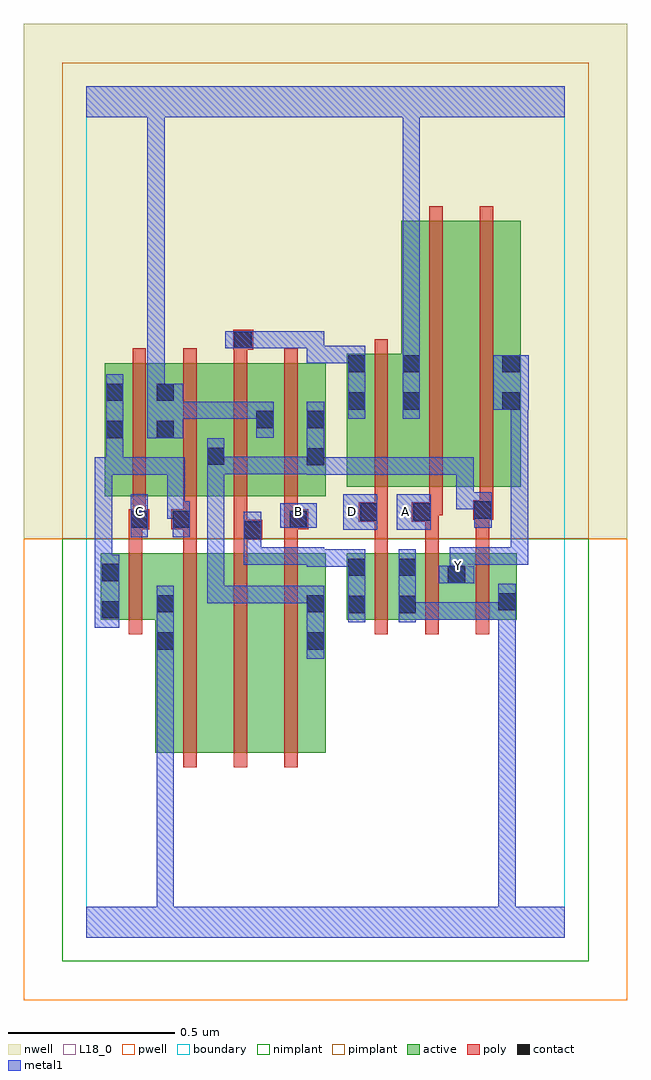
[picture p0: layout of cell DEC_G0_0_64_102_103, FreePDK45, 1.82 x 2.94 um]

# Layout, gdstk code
import gdstk
lib = gdstk.Library(unit=1e-6, precision=1e-09)
def R(c, l, rs):  # rectangles x0, y0, x1, y1
    for r in rs: c.add(gdstk.rectangle(r[:2], r[2:], *l))
def A(c, l, x, y, w, h, nx, ny, dx, dy):  # array of equal rectangles
    R(c, l, [(x+i*dx, y+j*dy, x+i*dx+w, y+j*dy+h) for i in range(nx) for j in range(ny)])
active = (1, 0)
pwell = (2, 0)
nwell = (3, 0)
nimplant = (4, 0)
pimplant = (5, 0)
poly = (9, 0)
contact = (10, 0)
metal1 = (11, 0)
L18_0 = (18, 0)
boundary = (235, 0)

dec_g0_0_64_102_103 = lib.new_cell('DEC_G0_0_64_102_103')
A(dec_g0_0_64_102_103, active, 0.056, 1.328, 0.06, 0.4, 3, 1, 0.152, 0)
R(dec_g0_0_64_102_103, active, [(0.208,0.556,0.388,1.156), (0.388,0.556,0.54,1.156), (0.54,0.556,0.72,1.156), (0.66,0.556,0.72,1.156), (0.208,0.862,0.268,1.034), (0.044,0.956,0.104,1.156), (0.044,0.956,0.268,1.156), (0.784,0.956,0.844,1.156), (0.784,0.956,0.996,1.156), (0.936,0.956,0.996,1.156), (0.936,0.956,1.144,1.156), (1.084,0.956,1.144,1.156), (1.084,0.956,1.296,1.156), (1.236,0.956,1.296,1.156), (0.056,1.328,0.268,1.728), (0.208,1.328,0.42,1.728), (0.36,1.328,0.568,1.728), (0.508,1.328,0.72,1.728), (0.66,1.328,0.72,1.644), (0.784,1.356,1.008,1.756), (0.784,1.356,0.844,1.756), (0.948,1.356,1.128,2.156), (1.128,1.356,1.308,2.156), (1.248,1.356,1.308,2.15), (0.508,1.47,0.568,1.728), (0.948,1.498,1.008,1.826)])
R(dec_g0_0_64_102_103, pwell, [(-0.188,-0.188,1.628,1.2)])
R(dec_g0_0_64_102_103, nwell, [(-0.188,1.2,1.628,2.748)])
R(dec_g0_0_64_102_103, nimplant, [(-0.072,-0.072,1.512,1.2)])
R(dec_g0_0_64_102_103, pimplant, [(-0.072,1.2,1.512,2.632)])
A(dec_g0_0_64_102_103, poly, 0.292, 0.512, 0.04, 0.688, 3, 1, 0.152, 0)
A(dec_g0_0_64_102_103, poly, 0.868, 0.912, 0.04, 0.288, 3, 1, 0.152, 0)
A(dec_g0_0_64_102_103, poly, 0.14, 1.284, 0.04, 0.488, 4, 1, 0.152, 0)
R(dec_g0_0_64_102_103, poly, [(0.128,0.912,0.168,1.2), (0.128,1.16,0.168,1.268), (0.292,1.16,0.332,1.268), (0.444,1.16,0.484,1.236), (0.596,1.16,0.636,1.268), (0.868,1.16,0.908,1.29), (1.02,1.16,1.06,1.29), (1.172,1.16,1.212,1.296), (0.444,1.196,0.53,1.256), (0.444,1.216,0.484,1.256), (0.444,1.216,0.484,1.256), (0.444,1.216,0.484,1.324), (0.128,1.228,0.19,1.288), (0.256,1.228,0.332,1.288), (0.292,1.228,0.332,1.268), (0.292,1.228,0.332,1.268), (0.596,1.228,0.636,1.268), (0.596,1.228,0.636,1.268), (0.596,1.228,0.668,1.288), (0.14,1.248,0.18,1.324), (0.14,1.248,0.18,1.288), (0.14,1.248,0.18,1.288), (0.292,1.248,0.332,1.324), (0.596,1.248,0.636,1.324), (0.82,1.25,0.908,1.31), (0.868,1.25,0.908,1.29), (0.868,1.25,0.908,1.29), (0.98,1.25,1.06,1.31), (1.164,1.256,1.224,1.316), (1.172,1.256,1.212,1.296), (1.172,1.256,1.212,1.296), (0.868,1.27,0.908,1.352), (1.02,1.27,1.06,1.31), (1.02,1.27,1.072,1.31), (1.032,1.27,1.072,1.352), (1.184,1.276,1.224,1.352), (0.868,1.312,0.908,1.8), (1.032,1.312,1.072,2.2), (1.184,1.312,1.224,2.2), (0.444,1.732,0.484,1.808), (0.442,1.768,0.502,1.828)])
R(dec_g0_0_64_102_103, contact, [(0.212,0.866,0.264,0.918), (0.664,0.866,0.716,0.918), (0.048,0.96,0.1,1.012), (0.788,0.976,0.84,1.028), (0.94,0.976,0.992,1.028), (0.212,0.978,0.264,1.03), (0.664,0.978,0.716,1.03), (1.24,0.984,1.292,1.036), (1.088,1.066,1.14,1.118), (0.048,1.072,0.1,1.124), (0.788,1.088,0.84,1.14), (0.94,1.088,0.992,1.14), (0.474,1.2,0.526,1.252), (0.134,1.232,0.186,1.284), (0.26,1.232,0.312,1.284), (0.612,1.232,0.664,1.284), (0.824,1.254,0.876,1.306), (0.984,1.254,1.036,1.306), (1.168,1.26,1.22,1.312), (0.664,1.42,0.716,1.472), (0.364,1.422,0.416,1.474), (0.06,1.502,0.112,1.554), (0.212,1.502,0.264,1.554), (0.512,1.532,0.564,1.584), (0.664,1.532,0.716,1.584), (0.788,1.588,0.84,1.64), (0.952,1.588,1.004,1.64), (1.252,1.588,1.304,1.64), (0.06,1.614,0.112,1.666), (0.212,1.614,0.264,1.666), (0.788,1.7,0.84,1.752), (0.952,1.7,1.004,1.752), (1.252,1.7,1.304,1.752), (0.446,1.772,0.498,1.824)])
R(dec_g0_0_64_102_103, metal1, [(0,0,1.44,0.092), (0.212,0.04,0.264,0.092), (0.212,0.04,0.264,0.092), (0.212,0.04,0.264,0.092), (0.212,0.04,0.264,0.092), (0.212,0.04,0.264,0.092), (0.212,0.04,0.264,0.092), (0.212,0.04,0.264,0.092), (0.212,0.04,0.264,0.092), (0.212,0.04,0.264,0.89), (1.24,0.04,1.292,0.092), (1.24,0.04,1.292,0.092), (1.24,0.04,1.292,0.092), (1.24,0.04,1.292,0.092), (1.24,0.04,1.292,0.092), (1.24,0.04,1.292,0.092), (1.24,0.04,1.292,0.092), (1.24,0.04,1.292,0.092), (1.24,0.04,1.292,0.092), (1.24,0.04,1.292,0.092), (1.24,0.04,1.292,0.092), (1.24,0.04,1.292,0.092), (1.24,0.04,1.292,0.092), (1.24,0.04,1.292,0.092), (1.24,0.04,1.292,0.092), (1.24,0.04,1.292,0.092), (1.24,0.04,1.292,1.008), (0.212,0.838,0.264,1.058), (0.664,0.838,0.716,1.058), (0.026,0.932,0.1,1.152), (0.788,0.948,0.84,1.168), (0.94,0.948,0.992,1.168), (0.94,0.956,0.992,1.008), (0.94,0.956,0.992,1.008), (0.94,0.956,1.102,1.008), (1.05,0.956,1.102,1.008), (1.05,0.956,1.292,1.008), (1.24,0.956,1.292,1.008), (1.24,0.956,1.292,1.008), (1.24,0.956,1.292,1.064), (0.364,1.006,0.416,1.058), (0.364,1.006,0.416,1.058), (0.364,1.006,0.416,1.058), (0.364,1.006,0.416,1.058), (0.364,1.006,0.416,1.058), (0.364,1.006,0.526,1.058), (0.364,1.006,0.416,1.446), (0.474,1.006,0.526,1.058), (0.474,1.006,0.526,1.058), (0.474,1.006,0.526,1.058), (0.474,1.006,0.716,1.058), (0.664,1.006,0.716,1.058), (0.664,1.006,0.716,1.058), (1.06,1.066,1.168,1.118), (1.094,1.066,1.146,1.118), (1.094,1.066,1.146,1.174), (0.026,1.1,0.078,1.444), (0.664,1.116,0.716,1.168), (0.664,1.116,0.716,1.168), (0.664,1.116,0.84,1.168), (0.664,1.116,0.716,1.174), (0.788,1.116,0.84,1.168), (0.788,1.116,0.84,1.168), (0.474,1.122,0.716,1.174), (0.474,1.122,0.526,1.224), (1.094,1.122,1.146,1.174), (1.094,1.122,1.146,1.174), (1.094,1.122,1.33,1.174), (1.278,1.122,1.33,1.64), (1.278,1.122,1.33,1.174), (1.278,1.122,1.33,1.174), (1.278,1.122,1.33,1.174), (0.474,1.172,0.526,1.224), (0.474,1.172,0.526,1.28), (0.134,1.204,0.186,1.334), (0.26,1.204,0.312,1.312), (0.774,1.226,0.876,1.334), (0.934,1.226,1.036,1.334), (0.584,1.232,0.694,1.306), (1.168,1.232,1.22,1.34), (0.244,1.26,0.312,1.312), (0.244,1.26,0.296,1.444), (1.114,1.288,1.166,1.34), (1.114,1.288,1.22,1.34), (1.114,1.288,1.166,1.444), (0.026,1.392,0.078,1.444), (0.026,1.392,0.078,1.444), (0.026,1.392,0.112,1.444), (0.06,1.392,0.112,1.444), (0.06,1.392,0.112,1.444), (0.06,1.392,0.296,1.444), (0.06,1.392,0.112,1.526), (0.664,1.392,0.826,1.444), (0.664,1.392,0.716,1.612), (0.774,1.392,0.826,1.444), (0.774,1.392,0.826,1.444), (0.774,1.392,0.826,1.444), (0.774,1.392,0.992,1.444), (0.94,1.392,0.992,1.444), (0.94,1.392,0.992,1.444), (0.94,1.392,0.992,1.444), (0.94,1.392,1.166,1.444), (1.114,1.392,1.166,1.444), (0.364,1.394,0.416,1.502), (0.364,1.394,0.422,1.446), (0.37,1.394,0.422,1.446), (0.37,1.394,0.526,1.446), (0.474,1.394,0.526,1.446), (0.474,1.394,0.716,1.446), (0.664,1.394,0.716,1.446), (0.664,1.394,0.716,1.446), (0.06,1.474,0.112,1.694), (0.184,1.502,0.292,1.666), (0.512,1.504,0.564,1.612), (0.24,1.56,0.292,1.612), (0.24,1.56,0.292,1.612), (0.24,1.56,0.416,1.612), (0.364,1.56,0.416,1.612), (0.364,1.56,0.422,1.612), (0.37,1.56,0.422,1.612), (0.37,1.56,0.564,1.612), (0.788,1.56,0.84,1.78), (0.952,1.56,1.004,1.78), (1.224,1.588,1.332,1.752), (0.184,1.614,0.236,1.666), (0.184,1.614,0.236,1.666), (0.184,1.614,0.236,2.52), (0.664,1.728,0.716,1.78), (0.664,1.728,0.84,1.78), (0.664,1.728,0.716,1.824), (0.952,1.728,1.004,1.78), (0.952,1.728,1.004,1.78), (0.952,1.728,1.004,1.78), (0.952,1.728,1.004,1.78), (0.952,1.728,1.004,2.52), (0.418,1.772,0.526,1.824), (0.474,1.772,0.526,1.824), (0.474,1.772,0.526,1.824), (0.474,1.772,0.716,1.824), (0.664,1.772,0.716,1.824), (0.664,1.772,0.716,1.824), (0.664,1.772,0.716,1.824), (0,2.468,1.44,2.56), (0.184,2.468,0.236,2.52), (0.184,2.468,0.236,2.52), (0.184,2.468,0.236,2.52), (0.184,2.468,0.236,2.52), (0.184,2.468,0.236,2.52), (0.184,2.468,0.236,2.52), (0.184,2.468,0.236,2.52), (0.184,2.468,0.236,2.52), (0.184,2.468,0.236,2.52), (0.184,2.468,0.236,2.52), (0.184,2.468,0.236,2.52), (0.184,2.468,0.236,2.52), (0.184,2.468,0.236,2.52), (0.184,2.468,0.236,2.52), (0.952,2.468,1.004,2.52), (0.952,2.468,1.004,2.52), (0.952,2.468,1.004,2.52), (0.952,2.468,1.004,2.52)])
A(dec_g0_0_64_102_103, L18_0, 1.094, 1.066, 0.052, 0.052, 1, 3, 0, 0.028)
A(dec_g0_0_64_102_103, L18_0, 0.614, 1.254, 0.052, 0.052, 3, 1, 0.16, 0)
R(dec_g0_0_64_102_103, L18_0, [(0,0,1.44,0.092), (0.212,0.04,0.264,0.092), (0.212,0.04,0.264,0.092), (0.212,0.04,0.264,0.092), (0.212,0.04,0.264,0.092), (0.212,0.04,0.264,0.092), (0.212,0.04,0.264,0.092), (0.212,0.04,0.264,0.092), (0.212,0.04,0.264,0.092), (0.212,0.04,0.264,0.89), (1.24,0.04,1.292,0.092), (1.24,0.04,1.292,0.092), (1.24,0.04,1.292,0.092), (1.24,0.04,1.292,0.092), (1.24,0.04,1.292,0.092), (1.24,0.04,1.292,0.092), (1.24,0.04,1.292,0.092), (1.24,0.04,1.292,0.092), (1.24,0.04,1.292,0.092), (1.24,0.04,1.292,0.092), (1.24,0.04,1.292,0.092), (1.24,0.04,1.292,0.092), (1.24,0.04,1.292,0.092), (1.24,0.04,1.292,0.092), (1.24,0.04,1.292,0.092), (1.24,0.04,1.292,0.092), (1.24,0.04,1.292,1.008), (0.212,0.838,0.264,1.058), (0.94,0.948,0.992,1.168), (0.94,0.956,0.992,1.008), (0.94,0.956,0.992,1.008), (0.94,0.956,1.102,1.008), (1.05,0.956,1.102,1.008), (1.05,0.956,1.292,1.008), (1.24,0.956,1.292,1.008), (1.24,0.956,1.292,1.008), (1.24,0.956,1.292,1.064), (1.06,1.066,1.168,1.118), (1.094,1.066,1.146,1.174), (1.094,1.122,1.146,1.174), (1.094,1.122,1.33,1.174), (1.278,1.122,1.33,1.174), (1.278,1.122,1.33,1.174), (1.278,1.122,1.33,1.174), (1.278,1.122,1.33,1.64), (0.134,1.204,0.186,1.334), (0.774,1.226,0.876,1.334), (0.934,1.226,1.036,1.334), (0.584,1.232,0.694,1.306), (0.134,1.254,0.186,1.306), (0.184,1.502,0.292,1.666), (0.512,1.504,0.564,1.612), (0.24,1.56,0.292,1.612), (0.24,1.56,0.292,1.612), (0.24,1.56,0.416,1.612), (0.364,1.56,0.416,1.612), (0.364,1.56,0.422,1.612), (0.37,1.56,0.422,1.612), (0.37,1.56,0.564,1.612), (0.952,1.56,1.004,1.78), (1.224,1.588,1.332,1.752), (0.184,1.614,0.236,1.666), (0.184,1.614,0.236,1.666), (0.184,1.614,0.236,2.52), (0.952,1.728,1.004,1.78), (0.952,1.728,1.004,1.78), (0.952,1.728,1.004,1.78), (0.952,1.728,1.004,1.78), (0.952,1.728,1.004,2.52), (0,2.468,1.44,2.56), (0.184,2.468,0.236,2.52), (0.184,2.468,0.236,2.52), (0.184,2.468,0.236,2.52), (0.184,2.468,0.236,2.52), (0.184,2.468,0.236,2.52), (0.184,2.468,0.236,2.52), (0.184,2.468,0.236,2.52), (0.184,2.468,0.236,2.52), (0.184,2.468,0.236,2.52), (0.184,2.468,0.236,2.52), (0.184,2.468,0.236,2.52), (0.184,2.468,0.236,2.52), (0.184,2.468,0.236,2.52), (0.184,2.468,0.236,2.52), (0.952,2.468,1.004,2.52), (0.952,2.468,1.004,2.52), (0.952,2.468,1.004,2.52), (0.952,2.468,1.004,2.52)])
R(dec_g0_0_64_102_103, boundary, [(0,0,1.44,2.56)])
dec_g0_0_64_102_103.add(gdstk.Label('A', (0.96,1.28), layer=11, texttype=0))
dec_g0_0_64_102_103.add(gdstk.Label('B', (0.64,1.28), layer=11, texttype=0))
dec_g0_0_64_102_103.add(gdstk.Label('C', (0.16,1.28), layer=11, texttype=0))
dec_g0_0_64_102_103.add(gdstk.Label('D', (0.8,1.28), layer=11, texttype=0))
dec_g0_0_64_102_103.add(gdstk.Label('Y', (1.12,1.12), layer=11, texttype=0))

lib.write_gds('DEC_G0_0_64_102_103.gds')
